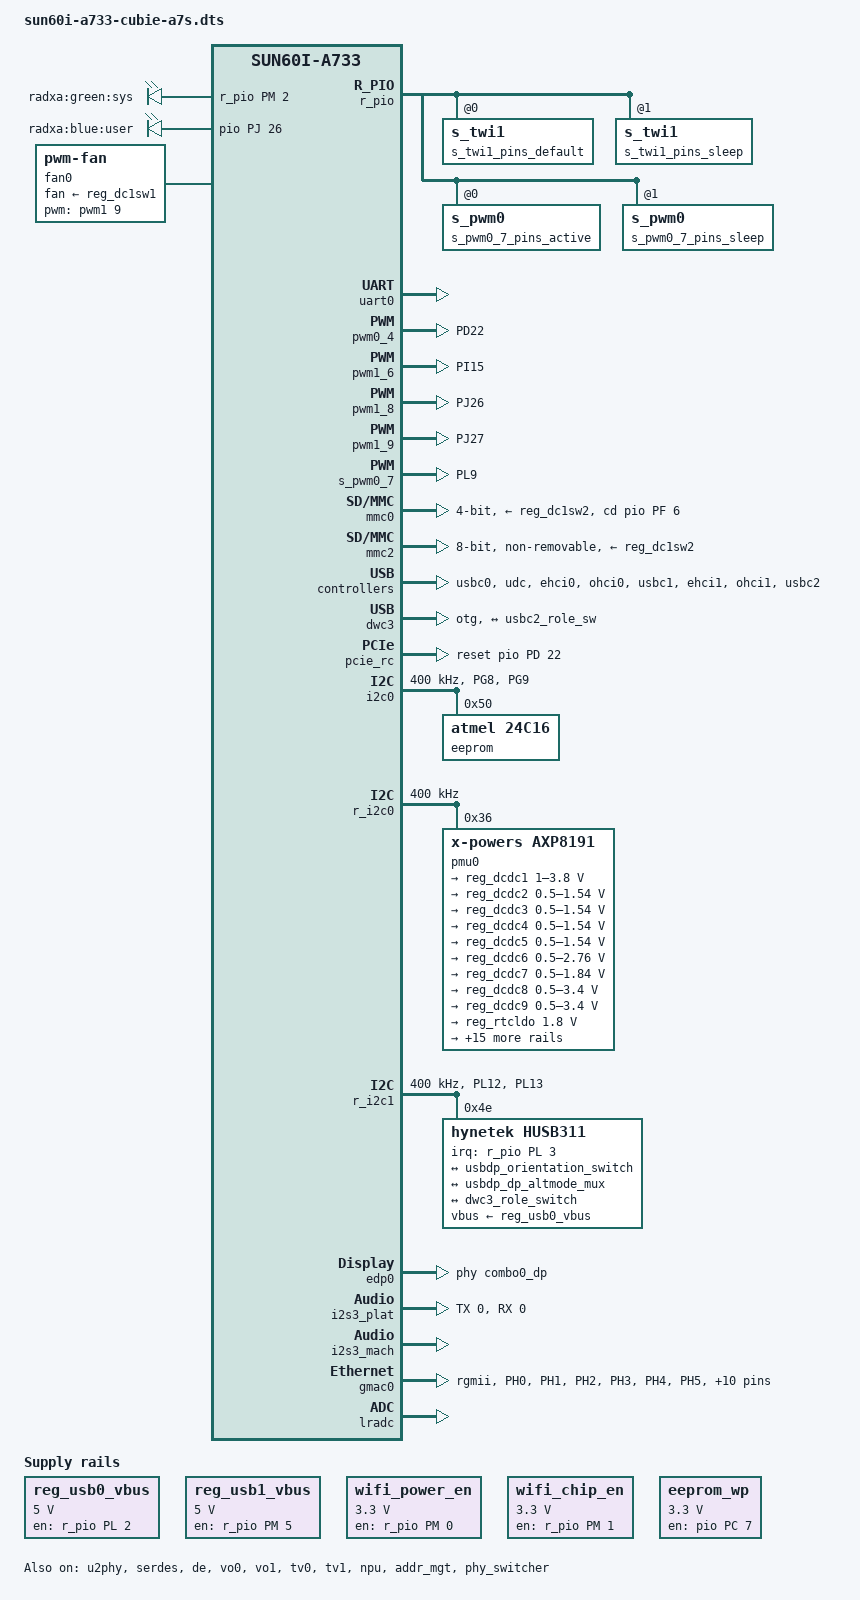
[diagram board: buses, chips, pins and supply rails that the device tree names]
// SPDX-License-Identifier: (GPL-2.0+ or MIT)

/dts-v1/;

#include "sun60iw2p1.dtsi"

/{
	board = "A733", "A733-CUBIE-A7S-AXP318";
	compatible = "radxa,a733", "radxa,cubie-a7s", "arm,sun60iw2p1", "allwinner,sun60i-a733";

	reg_usb0_vbus: usb0-vbus {
		compatible = "regulator-fixed";
		regulator-name = "usb0-vbus";
		regulator-min-microvolt = <5000000>;
		regulator-max-microvolt = <5000000>;
		regulator-enable-ramp-delay = <1000>;
		gpio = <&r_pio PL 2 GPIO_ACTIVE_HIGH>;
		enable-active-high;
	};

	reg_usb1_vbus: usb1-vbus {
		compatible = "regulator-fixed";
		regulator-name = "usb1-vbus";
		regulator-min-microvolt = <5000000>;
		regulator-max-microvolt = <5000000>;
		regulator-enable-ramp-delay = <1000>;
		gpio = <&r_pio PM 5 GPIO_ACTIVE_HIGH>;
		enable-active-high;
	};

	wifi_power_en: wifi_power_en {
		compatible = "regulator-fixed";
		regulator-name = "wifi_power_en";
		regulator-min-microvolt = <3300000>;
		regulator-max-microvolt = <3300000>;
		regulator-enable-ramp-delay = <1000>;
		gpio = <&r_pio PM 0 GPIO_ACTIVE_HIGH>;
		enable-active-high;
		regulator-always-on;
		regulator-boot-on;
	};

	wifi_chip_en: wifi_chip_en {
		compatible = "regulator-fixed";
		regulator-name = "wifi_chip_en";
		regulator-min-microvolt = <3300000>;
		regulator-max-microvolt = <3300000>;
		regulator-enable-ramp-delay = <1000>;
		gpio = <&r_pio PM 1 GPIO_ACTIVE_HIGH>;
		enable-active-high;
		regulator-always-on;
		regulator-boot-on;
	};

	eeprom_wp: eeprom-wp {
		compatible = "regulator-fixed";
		regulator-name = "eeprom_wp";
		regulator-min-microvolt = <3300000>;
		regulator-max-microvolt = <3300000>;
		regulator-enable-ramp-delay = <1000>;
		gpio = <&pio PC 7 GPIO_ACTIVE_HIGH>;
		enable-active-high;
		regulator-always-on;
		regulator-boot-on;
	};

	leds {
		compatible = "gpio-leds";

		led-0 {
			label = "radxa:green:sys";
			gpios = <&r_pio PM 2 GPIO_ACTIVE_HIGH>;
			linux,default-trigger = "default-on";
		};

		led-1 {
			label = "radxa:blue:user";
			gpios = <&pio PJ 26 GPIO_ACTIVE_HIGH>;
			linux,default-trigger = "heartbeat";
		};
	};

	fan0: pwm-fan {
		compatible = "pwm-fan";
		#cooling-cells = <2>;
		cooling-levels = <0 50 102 170 255>;
		fan-supply = <&reg_dc1sw1>;
		pwms = <&pwm1 9 25000 0>;
	};

	phy_switcher: phy_switcher@10 {
		compatible = "allwinner,sunxi-phy-switcher";
		reg = <0x0 0x10 0x0 0x0>;
		// hotplug = <&pio PH 4 GPIO_ACTIVE_HIGH>;
		// aux_p = <&r_pio PL 10 GPIO_ACTIVE_HIGH>;
		// aux_n = <&r_pio PL 11 GPIO_ACTIVE_HIGH>;
		phys = <&combo0_dp>, <&combo0_usb>;
		phy-names = "dp-phy", "usb-phy";
		dp_configure_delay = <20>;
		status = "okay";

		mode-switch;
		orientation-switch;
		svid = <0xff01>;
		port {
			#address-cells = <1>;
			#size-cells = <0>;
			usbdp_orientation_switch: endpoint@0 {
				reg = <0>;
				remote-endpoint = <&usbc2_orien_sw>;
			};
			usbdp_dp_altmode_mux: endpoint@1 {
				reg = <1>;
				remote-endpoint = <&dp_altmode_mux>;
			};
		};
	};
};

&ccu {
	clk-init-gate = <1>;
};

&pio {
	gpio-line-names =
	/* PA */
	"", "", "", "",
	"", "", "", "",
	"", "", "", "",
	"", "", "", "",
	"", "", "", "",
	"", "", "", "",
	"", "", "", "",
	"", "", "", "",
	/* PB */
	"PIN_7", "PIN_11", "PIN_29", "PIN_31",
	"PIN_36", "PIN_12", "PIN_35", "PIN_38",
	"PIN_37", "PIN_8", "PIN_10", "",
	"", "", "", "",
	"", "", "", "",
	"", "", "", "",
	"", "", "", "",
	"", "", "", "",
	/* PC */
	"", "", "", "",
	"", "", "", "",
	"", "", "", "",
	"", "", "", "",
	"", "", "", "",
	"", "", "", "",
	"", "", "", "",
	"", "", "", "",
	/* PD */
	"", "", "", "",
	"", "", "", "",
	"", "", "PIN_24", "PIN_23",
	"PIN_19", "PIN_21", "PIN_26", "",
	"PIN_28", "PIN_27", "", "",
	"", "", "", "",
	"", "", "", "",
	"", "", "", "",
	/* PE */
	"", "", "", "",
	"", "", "", "",
	"", "", "", "",
	"", "", "", "",
	"", "", "", "",
	"", "", "", "",
	"", "", "", "",
	"", "", "", "",
	/* PF */
	"", "", "", "",
	"", "", "", "",
	"", "", "", "",
	"", "", "", "",
	"", "", "", "",
	"", "", "", "",
	"", "", "", "",
	"", "", "", "",
	/* PG */
	"PIN_40", "PIN_41", "PIN_42", "PIN_43",
	"PIN_44", "PIN_45", "", "",
	"", "", "", "",
	"", "", "", "",
	"", "", "", "",
	"", "", "", "",
	"", "", "", "",
	"", "", "", "",
	/* PH */
	"", "", "", "",
	"", "", "", "",
	"", "", "", "",
	"", "", "", "",
	"", "", "", "",
	"", "", "", "",
	"", "", "", "",
	"", "", "", "",
	/* PI */
	"", "", "", "",
	"", "", "", "",
	"", "", "", "",
	"", "", "", "",
	"", "", "", "",
	"", "", "", "",
	"", "", "", "",
	"", "", "", "",
	/* PJ */
	"", "", "", "",
	"", "", "", "",
	"", "", "", "",
	"", "", "", "",
	"", "", "", "",
	"", "", "PIN_5", "PIN_3",
	"PIN_16", "PIN_18", "", "",
	"", "", "", "",
	/* PK */
	"", "", "", "",
	"", "", "", "",
	"", "", "", "",
	"", "", "", "",
	"", "", "", "",
	"", "", "", "",
	"", "", "", "",
	"", "", "", "";

	// uart0_pins_active: uart0_pins@0 {
	// 	pins = "", "";
	// 	function = "uart0";
	// 	drive-strength = <10>;
	// };

	// uart0_pins_sleep: uart0_pins@1 {
	// 	pins = "", "";
	// 	function = "gpio_in";
	// 	drive-strength = <10>;
	// };

	uart1_pins_active: uart1_pins@0 {
		pins = "PG6", "PG7", "PG8", "PG9";
		function = "uart1";
		drive-strength = <10>;
	};

	uart1_pins_sleep: uart1_pins@1 {
		pins = "PG6", "PG7", "PG8", "PG9";
		function = "io_disabled";
		drive-strength = <10>;
	};

	uart2_pins_active: uart2_pins@0 {
		pins = "PB0", "PB1", "PB2", "PB3";
		function = "uart2";
		drive-strength = <10>;
	};

	uart2_pins_sleep: uart2_pins@1 {
		pins = "PB0", "PB1", "PB2", "PB3";
		function = "io_disabled";
		drive-strength = <10>;
	};

	uart3_pins_active: uart3_pins@0 {
		pins = "PI1", "PI12";
		function = "uart3";
		drive-strength = <10>;
	};

	uart3_pins_sleep: uart3_pins@1 {
		pins = "PI11", "PI12";
		function = "io_disabled";
		drive-strength = <10>;
	};

	uart5_pins_active: uart5_pins@0 {
		pins = "", "";
		function = "uart5";
		drive-strength = <10>;
	};

	uart5_pins_sleep: uart5_pins@1 {
		pins = "", "";
		function = "io_disabled";
		drive-strength = <10>;
	};

	uart6_pins_active: uart6_pins@0 {
		pins = "PI6", "PI7";
		function = "uart6";
		drive-strength = <10>;
	};

	uart6_pins_sleep: uart6_pins@1 {
		pins = "PI6", "PI7";
		function = "io_disabled";
		drive-strength = <10>;
	};

	uart7_pins_active: uart7_pins@0 {
		pins = "PB11", "PB12", "PB13", "PB14";
		function = "uart7";
		drive-strength = <10>;
	};

	uart7_pins_sleep: uart7_pins@1 {
		pins = "PB11", "PB12", "PB13", "PB14";
		function = "io_disabled";
		drive-strength = <10>;
	};

	pwm0_4_pins_active: pwm0@0 {
		pins = "PD22";
		function = "pwm0_4";
		drive-strength = <10>;
	};

	pwm0_4_pins_sleep: pwm0@1 {
		pins = "PD22";
		function = "gpio_in";
		bias-pull-down;
	};

	pwm1_8_pins_active: pwm1@0 {
		pins = "PJ26";
		function = "pwm1_8";
		drive-strength = <10>;
	};

	pwm1_8_pins_sleep: pwm1@1 {
		pins = "PJ26";
		function = "gpio_in";
		bias-pull-down;
	};

	pwm1_9_pins_active: pwm1@0 {
		pins = "PJ27";
		function = "pwm1_9";
		drive-strength = <10>;
	};

	pwm1_9_pins_sleep: pwm1@1 {
		pins = "PJ27";
		function = "gpio_in";
		bias-pull-down;
	};

	pwm1_6_pins_active: pwm6@0 {
		pins = "PI15";
		function = "pwm1_6";
		drive-strength = <10>;
	};

	pwm1_6_pins_sleep: pwm6@1 {
		pins = "PI15";
		function = "gpio_in";
		bias-pull-down;
	};

	twi0_pins_default: twi0@0 {
		pins = "PG8", "PG9";
		function = "twi0";
		drive-strength = <10>;
		bias-pull-up;
	};

	twi0_pins_sleep: twi0@1 {
		pins = "PG8", "PG9";
		function = "gpio_in";
	};

	/* i2s0 pins */
	i2s0_pins_a: i2s0@0 {
		pins = "PB4";
		function = "i2s0_mclk";
		allwinner,drive = <1>;
		bias-disable;
	};

	i2s0_pins_b: i2s0@1 {
		pins = "PB5";
		function = "i2s0_bclk";
		allwinner,drive = <1>;
		bias-disable;
	};

	i2s0_pins_c: i2s0@2 {
		pins = "PB6";
		function = "i2s0_lrck";
		allwinner,drive = <1>;
		bias-disable;
	};

	i2s0_pins_e: i2s0@4 {
		pins = "PB7";
		function = "i2s0_dout0";
		allwinner,drive = <1>;
		bias-pull-down;
	};

	i2s0_pins_d: i2s0@3 {
		pins = "PB8";
		function = "i2s0_din0";
		allwinner,drive = <1>;
		bias-pull-down;
	};

	i2s0_pins_f: i2s0@5 {
		pins = "PB4", "PB5", "PB6", "PB7", "PB8";
		function = "io_disabled";
		allwinner,drive = <1>;
		bias-disable;
	};

	/* i2s1 pins */
	i2s1_pins_a: i2s1@0 {
		pins = "PG10";
		function = "i2s1_mclk";
		allwinner,drive = <1>;
		bias-disable;
	};

	i2s1_pins_b: i2s1@1 {
		pins = "PG11";
		function = "i2s1_bclk";
		allwinner,drive = <1>;
		bias-disable;
	};

	i2s1_pins_c: i2s1@2 {
		pins = "PG12";
		function = "i2s1_lrck";
		allwinner,drive = <1>;
		bias-disable;
	};

	i2s1_pins_d: i2s1@3 {
		pins = "PG13";
		function = "i2s1_din1";
		allwinner,drive = <1>;
		bias-disable;
	};

	i2s1_pins_e: i2s1@4 {
		pins = "PG14";
		function = "i2s1_dout1";
		allwinner,drive = <1>;
		bias-disable;
	};

	i2s1_pins_f: i2s1@5 {
		pins = "PG10", "PG11", "PG12", "PG13", "PG14";
		function = "io_disabled";
		allwinner,drive = <1>;
		bias-disable;
	};

	/* i2s2 pins */
	i2s2_pins_b: i2s2@1 {
		pins = "PH3";
		function = "i2s2_bclk";
		allwinner,drive = <1>;
		bias-disable;
	};

	i2s2_pins_c: i2s2@2 {
		pins = "PH4";
		function = "i2s2_lrck";
		allwinner,drive = <1>;
		bias-disable;
	};

	i2s2_pins_d: i2s2@3 {
		pins = "PH6";
		function = "i2s2_din0";
		allwinner,drive = <1>;
		bias-disable;
	};

	i2s2_pins_e: i2s2@4 {
		pins = "PH5";
		function = "i2s2_dout0";
		allwinner,drive = <1>;
		bias-disable;
	};

	i2s2_pins_f: i2s2@5 {
		pins = "PH3", "PH4", "PH5", "PH6";
		function = "io_disabled";
		allwinner,drive = <1>;
		bias-disable;
	};

	/* i2s4 pins */
	i2s4_pins_a: i2s4@0 {
		pins = "PJ17";
		function = "i2s4_mclk";
		allwinner,drive = <1>;
		bias-disable;
	};

	i2s4_pins_b: i2s4@1 {
		pins = "PJ16";
		function = "i2s4_bclk";
		allwinner,drive = <1>;
		bias-disable;
	};

	i2s4_pins_c: i2s4@2 {
		pins = "PJ18";
		function = "i2s4_lrck";
		allwinner,drive = <1>;
		bias-disable;
	};

	i2s4_pins_d: i2s4@3 {
		pins = "PJ19";
		function = "i2s4_din0";
		allwinner,drive = <1>;
		bias-pull-down;
	};

	i2s4_pins_f: i2s4@5 {
		pins = "PJ16", "PJ17", "PJ18", "PJ19";
		function = "io_disabled";
		allwinner,drive = <1>;
		bias-disable;
	};

	owa_pins_a: owa@0 {
		pins = "PI10";
		function = "owa0";
		allwinner,drive = <1>;
		bias-disable;
	};

	owa_pins_b: owa@1 {
		pins = "PI10";
		function = "io_disabled";
		allwinner,drive = <1>;
		bias-disable;
	};

	gmac0_pins_default: gmac0@0 {
		pins = "PH0", "PH1", "PH2", "PH3", "PH4", "PH5", "PH6", "PH7",
			"PH8", "PH9", "PH10", "PH11", "PH12","PH13", "PH14", "PH15";
		function = "rgmii0";
		allwinner,drive = <1>;
		bias-pull-up;
	};

	gmac0_pins_sleep: gmac0@1 {
		pins = "PH0", "PH1", "PH2", "PH3", "PH4", "PH5", "PH6", "PH7",
			"PH8", "PH9", "PH10", "PH11", "PH12","PH13", "PH14", "PH15";
		function = "io_disabled";
	};

	spi0_pins_default: spi0@0 {
		pins = "PC12", "PC2", "PC4"; /* clk, mosi, miso */
		function = "spi0";
		allwinner,drive = <1>;
		//drive-strength = <20>;
	};

	spi0_pins_cs: spi0@1 {
		pins = "PC3"; /* cs */
		function = "spi0";
		allwinner,drive = <1>;
		//drive-strength = <20>;
		bias-pull-up;
	};

	spi0_pins_sleep: spi0@2 {
		pins = "PC12", "PC2", "PC4", "PC3";
		function = "io_disabled";
	};
};

&r_pio {
	gpio-line-names =
	/* PL */
	"", "", "", "",
	"", "PIN_22", "PIN_13", "PIN_15",
	"", "", "", "",
	"", "", "", "",
	"", "", "", "",
	"", "", "", "",
	"", "", "", "",
	"", "", "", "",
	/* PM */
	"", "", "", "PIN_32",
	"PIN_33", "", "", "",
	"", "", "", "",
	"", "", "", "",
	"", "", "", "",
	"", "", "", "",
	"", "", "", "",
	"", "", "", "",
	"", "", "", "",
	/* PN */
	"", "", "", "",
	"", "", "", "",
	"", "", "", "",
	"", "", "", "",
	"", "", "", "",
	"", "", "", "",
	"", "", "", "",
	"", "", "", "";

	s_twi1_pins_default: s_twi1@0 {
		pins = "PL12", "PL13";
		function = "s_twi1";
		drive-strength = <30>;
		//bias-pull-up;
	};

	s_twi1_pins_sleep: s_twi1@1 {
		pins = "PL12", "PL13";
		function = "gpio_in";
	};

	s_pwm0_7_pins_active:s_pwm0@0 {
		pins = "PL9";
		function = "s_pwm0_7";
		drive-strength = <10>;
	};

	s_pwm0_7_pins_sleep:s_pwm0@1 {
		pins = "PL9";
		function = "gpio_in";
		bias-pull-down;
	};
};

&uart0 {
	// pinctrl-names = "default", "sleep";
	// pinctrl-0 = <&uart0_pins_active>;
	// pinctrl-1 = <&uart0_pins_sleep>;
	status = "okay";
};

&uart2 {
	pinctrl-names = "default", "sleep";
	pinctrl-0 = <&uart2_pins_active>;
	pinctrl-1 = <&uart2_pins_sleep>;
	status = "disabled";
};

&uart3 {
	pinctrl-names = "default", "sleep";
	pinctrl-0 = <&uart3_pins_active>;
	pinctrl-1 = <&uart3_pins_sleep>;
	status = "disabled";
};

&uart5 {
	pinctrl-names = "default", "sleep";
	pinctrl-0 = <&uart5_pins_active>;
	pinctrl-1 = <&uart5_pins_sleep>;
	status = "disabled";
};

&uart6 {
	pinctrl-names = "default", "sleep";
	pinctrl-0 = <&uart6_pins_active>;
	pinctrl-1 = <&uart6_pins_sleep>;
	status = "disabled";
};

&uart7 {
	pinctrl-names = "default", "sleep";
	pinctrl-0 = <&uart7_pins_active>;
	pinctrl-1 = <&uart7_pins_sleep>;
	status = "disabled";
};

&pwm0_4 {
	pinctrl-names = "active", "sleep";
	pinctrl-0 = <&pwm0_4_pins_active>;
	pinctrl-1 = <&pwm0_4_pins_sleep>;
	status = "okay";
};

&pwm1_6 {
	pinctrl-names = "active", "sleep";
	pinctrl-0 = <&pwm1_6_pins_active>;
	pinctrl-1 = <&pwm1_6_pins_sleep>;
	status = "okay";
};

&pwm1_8 {
	pinctrl-names = "active", "sleep";
	pinctrl-0 = <&pwm1_8_pins_active>;
	pinctrl-1 = <&pwm1_8_pins_sleep>;
	status = "okay";
};

&pwm1_9 {
	pinctrl-names = "active", "sleep";
	pinctrl-0 = <&pwm1_9_pins_active>;
	pinctrl-1 = <&pwm1_9_pins_sleep>;
	status = "okay";
};

&s_pwm0_7 {
	pinctrl-names = "active", "sleep";
	pinctrl-0 = <&s_pwm0_7_pins_active>;
	pinctrl-1 = <&s_pwm0_7_pins_sleep>;
	status = "okay";
};

&ddr_trips {
	fan_step0: trip-point@0 {
		temperature = <40000>;
		hysteresis = <2000>;
		type = "active";
	};

	fan_step1: trip-point@1 {
		temperature = <45000>;
		hysteresis = <2000>;
		type = "active";
	};

	fan_step2: trip-point@2 {
		temperature = <50000>;
		hysteresis = <2000>;
		type = "active";
	};

	fan_step3: trip-point@3 {
		temperature = <55000>;
		hysteresis = <5000>;
		type = "active";
	};
};

&ddr_thermal_zone {
	polling-delay-passive = <100>;
	polling-delay = <1000>;

	cooling-maps {
		map0 {
			trip = <&fan_step0>;
			cooling-device = <&fan0 0 1>;
		};

		map1 {
			trip = <&fan_step1>;
			cooling-device = <&fan0 1 2>;
		};

		map2 {
			trip = <&fan_step2>;
			cooling-device = <&fan0 2 3>;
		};

		map3 {
			trip = <&fan_step3>;
			cooling-device = <&fan0 3 4>;
		};
	};
};

&mmc0 {
	cd-gpios = <&pio PF 6 (GPIO_ACTIVE_HIGH | GPIO_PULL_DOWN)>;
	bus-width = <4>;
	sd-uhs-sdr50;
	sd-uhs-ddr50;
	sd-uhs-sdr104;
	no-sdio;
	no-mmc;
	vmmc-supply = <&reg_dc1sw2>;
	vqmmc-supply = <&reg_cldo5>;
	max-frequency = <200000000>;
	status = "okay";
};

&mmc2 {
	bus-width = <8>;
	non-removable;
	cap-mmc-hw-reset;
	mmc-ddr-1_8v;
	mmc-hs200-1_8v;
	mmc-hs400-1_8v;
	vmmc-supply = <&reg_dc1sw2>;
	vqmmc-supply = <&reg_cldo5>;
	max-frequency = <200000000>;
	status = "okay";
};

// &sdc0 {
// 	bus-width = <4>;
// 	cd-gpios = <&pio PF 6 (GPIO_ACTIVE_HIGH | GPIO_PULL_DOWN)>;
// 	/*non-removable;*/
// 	/*broken-cd;*/
// 	/*cd-inverted*/
// 	/*data3-detect;*/
// 	/*card-pwr-gpios = <&pio PH 14 1 1 2 0xffffffff>;*/
// 	cd-used-24M;
// 	cd-set-debounce = <0x1>;
// 	cap-sd-highspeed;
// 	sd-uhs-sdr50;
// 	sd-uhs-ddr50;
// 	sd-uhs-sdr104;
// 	no-sdio;
// 	no-mmc;
// 	sunxi-power-save-mode;
// 	/*sunxi-dis-signal-vol-sw;*/
// 	max-frequency = <200000000>;
// 	ctl-spec-caps = <0x428>;
// 	vmmc-supply = <&reg_dc1sw2>;
// 	vqmmc33sw-supply = <&reg_dc1sw2>;
// 	vdmmc33sw-supply = <&reg_dc1sw2>;
// 	vqmmc18sw-supply = <&reg_cldo5>;
// 	vdmmc18sw-supply = <&reg_cldo5>;
// 	status = "okay";
// };

// &sdc2 {
// 	non-removable;
// 	bus-width = <8>;
// 	mmc-ddr-1_8v;
// 	mmc-hs200-1_8v;
// 	mmc-hs400-1_8v;
// 	no-sdio;
// 	no-sd;
// 	ctl-spec-caps = <0x328>;
// 	cap-mmc-highspeed;
// 	sunxi-power-save-mode;
// 	sunxi-dis-signal-vol-sw;
// 	mmc-bootpart-noacc;
// 	cap-hsq;
// 	/*cqe-on;*/
// 	ctl-cmdq-md = <0x2>;
// 	max-frequency = <200000000>;
// 	/*vmmc-supply = <&reg_cldo3>;*/
// 	/*emmc io vol 3.3v*/
// 	/*vqmmc-supply = <&reg_aldo1>;*/
// 	/*emmc io vol 1.8v*/
// 	/*vqmmc-supply = <&reg_cldo1>;*/
// 	vmmc-supply = <&reg_dc1sw2>;
// 	vqmmc33sw-supply = <&reg_dc1sw2>;
// 	vdmmc33sw-supply = <&reg_dc1sw2>;
// 	vqmmc18sw-supply = <&reg_cldo5>;
// 	vdmmc18sw-supply = <&reg_cldo5>;
// 	status = "disabled";
// };

/*
 * usb_port_type: usb mode. 0-device, 1-host, 2-otg.
 * usb_detect_type: usb hotplug detect mode. 0-none, 1-vbus/id detect, 2-pmu detect, 3-tcpm detect.
 * usb_detect_mode: 0-thread scan, 1-id gpio interrupt, 2-pmu notify.
 * usb_id_gpio: gpio for id detect.
 * usb_det_vbus_gpio: gpio for id detect. gpio or "axp_ctrl".
 * usb_wakeup_suspend：0-SUPER_STANDBY, 1-USB_STANDBY.
 */
&usbc0 {
	device_type = "usbc0";
	usb_port_type = <1>;
	usb_detect_type = <2>;
	usb_detect_mode = <2>;
	// usb_id_gpio;
	// enable-active-high;
	usb_det_vbus_gpio = "axp_ctrl";
	// enable-active-high;
	detvbus_io-supply = <&reg_cldo1>;
	usb_regulator_io = "nocare";
	usb_wakeup_suspend = <0>;
	usb_luns = <3>;
	usb_serial_unique = <0>;
	usb_serial_number = "20080411";
	rndis_wceis = <1>;
	status = "okay";
};

&udc {
	phy_range = <0x188>;
	status = "okay";
};

&ehci0 {
	phy_range = <0x188>;
	status = "okay";
};

&ohci0 {
	phy_range = <0x188>;
	status = "okay";
};

&usbc1 {
	device_type = "usbc1";
	usb_regulator_io = "nocare";
	usb_wakeup_suspend = <0>;
	status = "okay";
};

&ehci1 {
	phy_range = <0x188>;
	drvvbus-supply = <&reg_usb1_vbus>;
	status = "okay";
};

&ohci1 {
	phy_range = <0x188>;
	drvvbus-supply = <&reg_usb1_vbus>;
	status = "okay";
};

&usbc2 {
	device_type = "usbc2";
	status = "okay";
};

&dwc3 {
	dr_mode = "otg"; //dr_mode option: host, peripheral, otg
	status = "okay";

	usb-role-switch;
	role-switch-default-mode = "host";

	port {
		#address-cells = <1>;
		#size-cells = <0>;
		dwc3_role_switch: endpoint@0 {
			reg = <0>;
			remote-endpoint = <&usbc2_role_sw>;
		};
	};
 };

&u2phy {
	status = "okay";
};

&serdes {
	serdes1v8-supply = <&reg_cldo5>;
	status = "okay";
	combophy0: combo-phy0@6c01000 {
		lane_invert = <1 1 1 1>;
		lane_remap = <0 1 2 3>;
		typec_remap = <2 3 0 1>;
	};
};

&pcie_rc {
	power-gpios = <&pio PD 20 GPIO_ACTIVE_HIGH>;
	reset-gpios = <&pio PD 22 GPIO_ACTIVE_HIGH>;
	wake-gpios = <&pio PD 21 GPIO_ACTIVE_HIGH>;
	pcie1v8-supply = <&reg_dc1sw1>;
	pcie3v3-supply = <&reg_bldo2>;
	status = "okay";
};

&i2c0 {
	clock-frequency = <400000>;
	pinctrl-0 = <&twi0_pins_default>;
	pinctrl-1 = <&twi0_pins_sleep>;
	pinctrl-names = "default", "sleep";
	status = "okay";

	eeprom@50 {
		compatible = "atmel,24c16";
		reg = <0x50>;
		//num-addresses = <1>;
		status = "okay";
	};
};

&r_i2c0 {
	clock-frequency = <400000>;
	status = "okay";

	pmu0: pmu@36 {
		compatible = "x-powers,axp8191";
		reg = <0x36>;
		status = "okay";
		interrupts = <0 IRQ_TYPE_LEVEL_LOW>;
		interrupt-parent = <&nmi_intc>;
		pmu_irq_wakeup = <1>;
		pmu_hot_shutdown = <1>;

		powerkey1: powerkey@1 {
			compatible = "x-powers,axp2101-pek";
			status = "okay";
			pmu_powkey_off_en = <1>;
			pmu_powkey_off_func = <1>;
			pmu_powkey_off_time = <8000>;
			pmu_powkey_long_time = <1500>;
			pmu_powkey_on_time = <1000>;
			wakeup_rising;
			wakeup_falling;
		};

		regulator0: regulators@0 {
			reg_dcdc1: dcdc1 {
				regulator-name = "axp8191-dcdc1";
				regulator-min-microvolt = <1000000>;
				regulator-max-microvolt = <3800000>;
				regulator-enable-ramp-delay = <1000>;
				regulator-ramp-delay = <250>;
				regulator-boot-on;
				regulator-always-on;
			};
			reg_dcdc2: dcdc2 {
				regulator-name = "axp8191-dcdc2";
				regulator-min-microvolt = <500000>;
				regulator-max-microvolt = <1540000>;
				regulator-ramp-delay = <250>;
				regulator-enable-ramp-delay = <1000>;
				regulator-boot-on;
				regulator-always-on;
			};
			reg_dcdc3: dcdc3 {
				regulator-name = "axp8191-dcdc3";
				regulator-min-microvolt = <500000>;
				regulator-max-microvolt = <1540000>;
				regulator-ramp-delay = <250>;
				regulator-enable-ramp-delay = <1000>;
				regulator-boot-on;
				regulator-always-on;
			};
			reg_dcdc4: dcdc4 {
				regulator-name = "axp8191-dcdc4";
				regulator-min-microvolt = <500000>;
				regulator-max-microvolt = <1540000>;
				regulator-ramp-delay = <250>;
				regulator-enable-ramp-delay = <1000>;
				regulator-boot-on;
				regulator-always-on;
			};
			reg_dcdc5: dcdc5 {
				regulator-name = "axp8191-dcdc5";
				regulator-min-microvolt = <500000>;
				regulator-max-microvolt = <1540000>;
				regulator-ramp-delay = <250>;
				regulator-enable-ramp-delay = <1000>;
				regulator-boot-on;
				regulator-always-on;
			};
			reg_dcdc6: dcdc6 {
				regulator-name = "axp8191-dcdc6";
				regulator-min-microvolt = <500000>;
				regulator-max-microvolt = <2760000>;
				regulator-ramp-delay = <250>;
				regulator-enable-ramp-delay = <1000>;
				regulator-boot-on;
				regulator-always-on;
			};
			reg_dcdc7: dcdc7 {
				regulator-name = "axp8191-dcdc7";
				regulator-min-microvolt = <500000>;
				regulator-max-microvolt = <1840000>;
				regulator-ramp-delay = <250>;
				regulator-enable-ramp-delay = <1000>;
				regulator-boot-on;
				regulator-always-on;
			};
			reg_dcdc8: dcdc8 {
				regulator-name = "axp8191-dcdc8";
				regulator-min-microvolt = <500000>;
				regulator-max-microvolt = <3400000>;
				regulator-ramp-delay = <250>;
				regulator-enable-ramp-delay = <1000>;
				regulator-boot-on;
				regulator-always-on;
			};
			reg_dcdc9: dcdc9 {
				regulator-name = "axp8191-dcdc9";
				regulator-min-microvolt = <500000>;
				regulator-max-microvolt = <3400000>;
				regulator-ramp-delay = <250>;
				regulator-enable-ramp-delay = <1000>;
				regulator-boot-on;
				regulator-always-on;
			};
			reg_rtcldo: rtcldo {
				/* RTC_LDO is a fixed, always-on regulator */
				regulator-name = "axp8191-rtcldo";
				regulator-min-microvolt = <1800000>;
				regulator-max-microvolt = <1800000>;
				regulator-boot-on;
				regulator-always-on;
			};
			reg_aldo1: aldo1 {
				regulator-name = "axp8191-aldo1";
				regulator-min-microvolt = <500000>;
				regulator-max-microvolt = <3400000>;
				regulator-enable-ramp-delay = <1000>;
				regulator-boot-on;
				regulator-always-on;
			};
			reg_aldo2: aldo2 {
				/* not connected */
				// regulator-name = "axp8191-aldo2";
				// regulator-min-microvolt = <500000>;
				// regulator-max-microvolt = <3400000>;
				// regulator-enable-ramp-delay = <1000>;
			};
			reg_aldo3: aldo3 {
				/* not connected */
				// regulator-name = "axp8191-aldo3";
				// regulator-min-microvolt = <500000>;
				// regulator-max-microvolt = <3400000>;
				// regulator-enable-ramp-delay = <1000>;
			};
			reg_aldo4: aldo4 {
				/* not connected */
				// regulator-name = "axp8191-aldo4";
				// regulator-min-microvolt = <500000>;
				// regulator-max-microvolt = <3400000>;
				// regulator-enable-ramp-delay = <1000>;
			};
			reg_aldo5: aldo5 {
				regulator-name = "axp8191-aldo5";
				regulator-min-microvolt = <500000>;
				regulator-max-microvolt = <3400000>;
				regulator-enable-ramp-delay = <1000>;
			};
			reg_aldo6: aldo6 {
				/* not connected */
				// regulator-name = "axp8191-aldo6";
				// regulator-min-microvolt = <500000>;
				// regulator-max-microvolt = <3400000>;
				// regulator-enable-ramp-delay = <1000>;
			};
			reg_bldo1: bldo1 {
				regulator-name = "axp8191-bldo1";
				regulator-min-microvolt = <500000>;
				regulator-max-microvolt = <3400000>;
				regulator-enable-ramp-delay = <1000>;
			};
			reg_bldo2: bldo2 {
				regulator-name = "axp8191-bldo2";
				regulator-min-microvolt = <500000>;
				regulator-max-microvolt = <3400000>;
				regulator-enable-ramp-delay = <1000>;
			};
			reg_bldo3: bldo3 {
				/* not connected */
				// regulator-name = "axp8191-bldo3";
				// regulator-min-microvolt = <500000>;
				// regulator-max-microvolt = <3400000>;
				// regulator-enable-ramp-delay = <1000>;
			};
			reg_bldo4: bldo4 {
				regulator-name = "axp8191-bldo4";
				regulator-min-microvolt = <500000>;
				regulator-max-microvolt = <3400000>;
				regulator-enable-ramp-delay = <1000>;
			};
			reg_bldo5: bldo5 {
				/* not connected */
				// regulator-name = "axp8191-bldo5";
				// regulator-min-microvolt = <500000>;
				// regulator-max-microvolt = <3400000>;
				// regulator-enable-ramp-delay = <1000>;
			};
			reg_cldo1: cldo1 {
				regulator-name = "axp8191-cldo1";
				regulator-min-microvolt = <500000>;
				regulator-max-microvolt = <3500000>;
				regulator-enable-ramp-delay = <1000>;
				regulator-boot-on;
				regulator-always-on;
			};
			reg_cldo2: cldo2 {
				regulator-name = "axp8191-cldo2";
				regulator-min-microvolt = <500000>;
				regulator-max-microvolt = <3500000>;
				regulator-enable-ramp-delay = <1000>;
			};
			reg_cldo3: cldo3 {
				regulator-name = "axp8191-cldo3";
				regulator-min-microvolt = <500000>;
				regulator-max-microvolt = <3500000>;
				regulator-enable-ramp-delay = <1000>;
				regulator-boot-on;
				regulator-always-on;
			};
			reg_cldo4: cldo4 {
				/* not connected */
				// regulator-name = "axp8191-cldo4";
				// regulator-min-microvolt = <500000>;
				// regulator-max-microvolt = <3500000>;
				// regulator-enable-ramp-delay = <1000>;
			};
			reg_cldo5: cldo5 {
				regulator-name = "axp8191-cldo5";
				regulator-min-microvolt = <500000>;
				regulator-max-microvolt = <3400000>;
				regulator-enable-ramp-delay = <1000>;
				regulator-boot-on;
				regulator-always-on;
			};
			reg_dldo1: dldo1 {
				regulator-name = "axp8191-dldo1";
				regulator-min-microvolt = <500000>;
				regulator-max-microvolt = <3400000>;
				regulator-enable-ramp-delay = <1000>;
				regulator-boot-on;
				regulator-always-on;
			};
			reg_dldo2: dldo2 {
				/* not connected */
				// regulator-name = "axp8191-dldo2";
				// regulator-min-microvolt = <500000>;
				// regulator-max-microvolt = <3400000>;
				// regulator-enable-ramp-delay = <1000>;
			};
			reg_dldo3: dldo3 {
				/* not connected */
				// regulator-name = "axp8191-dldo3";
				// regulator-min-microvolt = <500000>;
				// regulator-max-microvolt = <3400000>;
				// regulator-enable-ramp-delay = <1000>;
			};
			reg_dldo4: dldo4 {
				/* not connected */
				// regulator-name = "axp8191-dldo4";
				// regulator-min-microvolt = <500000>;
				// regulator-max-microvolt = <3400000>;
				// regulator-enable-ramp-delay = <1000>;
			};
			reg_dldo5: dldo5 {
				/* not connected */
				// regulator-name = "axp8191-dldo5";
				// regulator-min-microvolt = <500000>;
				// regulator-max-microvolt = <3400000>;
				// regulator-enable-ramp-delay = <1000>;
			};
			reg_dldo6: dldo6 {
				regulator-name = "axp8191-dldo6";
				regulator-min-microvolt = <500000>;
				regulator-max-microvolt = <3400000>;
				regulator-enable-ramp-delay = <1000>;
				regulator-boot-on;
				regulator-always-on;
			};
			reg_eldo1: eldo1 {
				regulator-name = "axp8191-eldo1";
				regulator-min-microvolt = <500000>;
				regulator-max-microvolt = <3400000>;
				regulator-enable-ramp-delay = <1000>;
				regulator-boot-on;
				regulator-always-on;
			};
			reg_eldo2: eldo2 {
				/* not connected */
				// regulator-name = "axp8191-eldo2";
				// regulator-min-microvolt = <500000>;
				// regulator-max-microvolt = <3400000>;
				// regulator-enable-ramp-delay = <1000>;
				// regulator-boot-on;
				// regulator-always-on;
			};
			reg_eldo3: eldo3 {
				/* not connected */
				// regulator-name = "axp8191-eldo3";
				// regulator-min-microvolt = <500000>;
				// regulator-max-microvolt = <3400000>;
				// regulator-enable-ramp-delay = <1000>;
			};
			reg_eldo4: eldo4 {
				/* not connected */
				// regulator-name = "axp8191-eldo4";
				// regulator-min-microvolt = <500000>;
				// regulator-max-microvolt = <3400000>;
				// regulator-enable-ramp-delay = <1000>;
			};
			reg_eldo5: eldo5 {
				/* not connected */
				// regulator-name = "axp8191-eldo5";
				// regulator-min-microvolt = <500000>;
				// regulator-max-microvolt = <3400000>;
				// regulator-enable-ramp-delay = <1000>;
			};
			reg_eldo6: eldo6 {
				regulator-name = "axp8191-eldo6";
				regulator-min-microvolt = <500000>;
				regulator-max-microvolt = <3400000>;
				regulator-enable-ramp-delay = <1000>;
				regulator-always-on;
				regulator-boot-on;
			};
			reg_dc1sw1: dc1sw1 {
				regulator-name = "axp8191-dc1sw1";
				swin-supply = <&reg_dcdc1>;
				regulator-boot-on;
				regulator-state-mem {
					regulator-off-in-suspend;
				};
			};
			reg_dc1sw2: dc1sw2 {
				regulator-name = "axp8191-dc1sw2";
				swin-supply = <&reg_dcdc1>;
				/* add always-on */
				regulator-always-on;
			};
		};
	};
};

&r_i2c1 {
	clock-frequency = <400000>;
	pinctrl-0 = <&s_twi1_pins_default>;
	pinctrl-1 = <&s_twi1_pins_sleep>;
	pinctrl-names = "default", "sleep";
	status = "okay";

	husb311: husb311@4e {
		compatible = "hynetek,husb311", "richtek,rt1711h";
		reg = <0x4e>;
		status = "okay";
		interrupt-parent = <&r_pio>;
		interrupts = <PL 3 IRQ_TYPE_LEVEL_LOW>;
		vbus-supply = <&reg_usb0_vbus>;

		usb_con: connector {
			compatible = "usb-c-connector";
			label = "USB-C";
			data-role = "dual";
			power-role = "dual";
			try-power-role = "source";
			op-sink-microwatt = <1000000>;
			typec-power-opmode = "default";
			slow-charger-loop;
			source-pdos = < PDO_FIXED(5000, 500, PDO_FIXED_DUAL_ROLE | PDO_FIXED_DATA_SWAP)
							PDO_VAR(5000, 5000, 1200) >;
			sink-pdos = < PDO_FIXED(5000, 500, PDO_FIXED_DUAL_ROLE | PDO_FIXED_DATA_SWAP)
						 PDO_VAR(5000, 5000, 2000)
						 /* PDO_VAR(9000, 9000, 2000)
						 PDO_VAR(12000, 12000, 3000)
						 PDO_VAR(15000, 15000, 3000)
						 PDO_VAR(20000, 20000, 2250)*/
						>;
			/* fixme */
			sink-vdos = <0xd1002e99 0x00 0x03110000>;
			sink-vdos-v1 = <0xd1002e99 0x00 0x03110000>;

			altmodes {
				displayport {
					svid = /bits/ 16 <0xff01>;
					vdo = <0xffffffff>;
				};
			};

			ports {
				#address-cells = <1>;
				#size-cells = <0>;

				port@0 {
					reg = <0>;
					usbc2_orien_sw: endpoint@0 {
						remote-endpoint = <&usbdp_orientation_switch>;
					};
				};
				port@1 {
					reg = <1>;
					dp_altmode_mux: endpoint@1 {
						remote-endpoint = <&usbdp_dp_altmode_mux>;
					};
				};
			};
		};

		port {
			#address-cells = <1>;
			#size-cells = <0>;

			usbc2_role_sw: endpoint@0 {
				reg = <0>;
				remote-endpoint = <&dwc3_role_switch>;
			};
		};
	};
};

&de {
	assigned-clock-rates = <600000000>;
	chn_cfg_mode = <2>;
	status = "okay";
};

&vo0 {
	status = "okay";
};

&vo1 {
	status = "okay";
};

&tv0 {
	status = "okay";
};

&tv1 {
	status = "okay";
};

&edp0 {
	#sound-dai-cells = <0>; /* audio driver match method arg */
	compatible = "allwinner,drm-dp";
	phys = <&combo0_dp>, <&aux_hpd_phy>;
	phy-names = "dp-phy", "aux-phy";
	sys = <&vo1>;

	edp_colordepth = <8>; /* 6/8/10/12/16 */
	edp_color_fmt = <0>;
	edp_ssc_en = <0>;
	edp_ssc_mode = <0>;

	edp_lane_rate = <2>;
	edp_lane_cnt = <4>;
	extcon = <&serdes>;

	status = "okay";
};

&cpu0 {
	cpu-supply = <&reg_dcdc5>;
};

&dsufreq {
	dsu-supply = <&reg_dcdc5>;
};

&cpu6 {
	cpu-supply = <&reg_dcdc3>;
};

&npu {
	npu-supply = <&reg_dcdc2>;
	status = "okay";
};

&addr_mgt {
	compatible     = "allwinner,sunxi-addr_mgt";
	type_addr_wifi = <0x0>;
	type_addr_bt   = <0x0>;
	type_addr_eth  = <0x0>;
	status         = "okay";
};

&i2s3_plat {
	tdm-num		= <3>;
	tx-pin          = <0 1 2 3>;
	tx-pin0-map0    = <0x76543210>;
	tx-pin0-map1    = <0xFEDCBA98>;
	tx-pin1-map0    = <0x76543210>;
	tx-pin1-map1    = <0xFEDCBA98>;
	tx-pin2-map0    = <0x76543210>;
	tx-pin2-map1    = <0xFEDCBA98>;
	tx-pin3-map0    = <0x76543210>;
	tx-pin3-map1    = <0xFEDCBA98>;
	rx-pin		= <0>;

	tx-hub-en;
	rx-sync-en;
	/* av:  */
	/* av not need dai-type */
	status		= "okay";
};

&i2s3_mach {
	soundcard-mach,format		= "i2s";
	soundcard-mach,frame-master	= <&i2s3_cpu>;
	soundcard-mach,bitclock-master	= <&i2s3_cpu>;
	/* soundcard-mach,frame-inversion; */
	/* soundcard-mach,bitclock-inversion; */
	soundcard-mach,slot-num		= <2>;
	soundcard-mach,slot-width	= <32>;
	soundcard-mach,playback-only;
	soundcard-mach,name = "allwinner-edp";
	status		= "okay";
	i2s3_cpu: soundcard-mach,cpu {
		sound-dai = <&i2s3_plat>;
		/* av: */
		soundcard-mach,pll-fs	= <4>;
		soundcard-mach,mclk-fs	= <512>;
	};
	i2s3_codec: soundcard-mach,codec {
		/* av: */
		sound-dai               = <&edp0>;
	};
};

&gmac0_phy0 {
	compatible = "ethernet-phy-id7b74.4412";
	reset-gpios = <&pio PH 16 GPIO_ACTIVE_LOW>;
};

&gmac0 {
	phy-mode = "rgmii";
	pinctrl-0 = <&gmac0_pins_default>;
	pinctrl-1 = <&gmac0_pins_sleep>;
	pinctrl-names = "default", "sleep";
	aw,soc-phy-clk-en;
	/delete-property/ aw,rgmii-clk-ext;
	tx-delay = <12>;
	rx-delay = <10>;
	dwmac3v3-supply = <&reg_dc1sw2>;
	phy3v3-supply = <&reg_dc1sw1>;
	status = "okay";
};

&lradc {
	key_cnt = <5>;
	key0 = <210 115>;
	key1 = <410 114>;
	key2 = <590 139>;
	key3 = <750 28>;
	key4 = <880 172>;
	status = "okay";
};

// &gpadc0 {
// 	channel_num = <8>;
// 	channel_select = <0x0f>;
// 	channel_data_select = <0x0>;
// 	channel_compare_select = <0x0>;
// 	channel_cld_select = <0x0>;
// 	channel_chd_select = <0x0>;
// 	channel0_compare_lowdata = <1700000>;
// 	channel0_compare_higdata = <1200000>;
// 	channel1_compare_lowdata = <460000>;
// 	channel1_compare_higdata = <1200000>;
// 	status = "okay";
// };

&gpu  {
	gpu-supply = <&reg_dcdc4>;
};

&sid {
	sid-supply = <&reg_dldo1>;
	voltage = <1800>;
};
